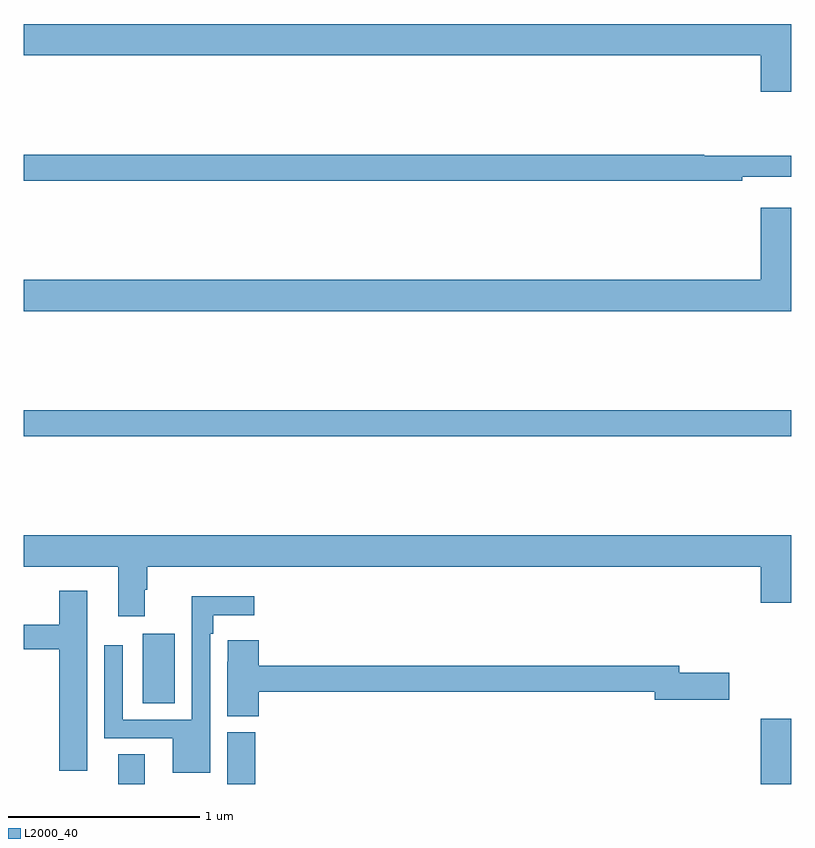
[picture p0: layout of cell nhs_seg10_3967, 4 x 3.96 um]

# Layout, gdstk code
import gdstk
lib = gdstk.Library(unit=1e-6, precision=1e-09)
def R(c, l, rs):  # rectangles x0, y0, x1, y1
    for r in rs: c.add(gdstk.rectangle(r[:2], r[2:], *l))
def P(c, l, *ps):  # polygons
    for p in ps: c.add(gdstk.Polygon(p, *l))
L2000_40 = (2000, 40)

nhs_seg10_3967 = lib.new_cell('nhs_seg10_3967')
R(nhs_seg10_3967, L2000_40, [(329.492,1316.5,329.632,1316.654), (330.062,1316.5,330.206,1316.769), (332.84,1316.5,333,1316.839), (329.621,1316.92,329.788,1317.283), (329,1318.312,333,1318.448)])
P(nhs_seg10_3967, L2000_40, [(333,1320.46),(329,1320.46),(329,1320.296),(332.84,1320.296),(332.84,1320.108),(333,1320.108)],
  [(332.744,1319.663),(333,1319.663),(333,1319.773),(332.545,1319.773),(332.545,1319.78),(329,1319.78),(329,1319.644),(332.744,1319.644)],
  [(333,1319.503),(332.84,1319.503),(332.84,1319.128),(329,1319.128),(329,1318.964),(333,1318.964)],
  [(329.632,1317.512),(329.645,1317.512),(329.645,1317.632),(332.84,1317.632),(332.84,1317.444),(333,1317.444),(333,1317.796),(329,1317.796),(329,1317.632),(329.492,1317.632),(329.492,1317.375),(329.632,1317.375)],
  [(329.332,1317.508),(329.186,1317.508),(329.186,1317.331),(329,1317.331),(329,1317.202),(329.186,1317.202),(329.186,1316.568),(329.332,1316.568)],
  [(329.973,1317.284),(329.989,1317.284),(329.989,1317.38),(330.202,1317.38),(330.202,1317.478),(329.877,1317.478),(329.877,1316.835),(329.517,1316.835),(329.517,1317.223),(329.421,1317.223),(329.421,1316.739),(329.777,1316.739),(329.777,1316.558),(329.973,1316.558)],
  [(330.224,1316.98),(332.288,1316.98),(332.288,1316.938),(332.677,1316.938),(332.677,1317.08),(332.416,1317.08),(332.416,1317.116),(330.224,1317.116),(330.224,1317.25),(330.063,1317.25),(330.063,1317.137),(330.062,1317.137),(330.062,1316.854),(330.224,1316.854)])

lib.write_gds('nhs_seg10_3967.gds')
